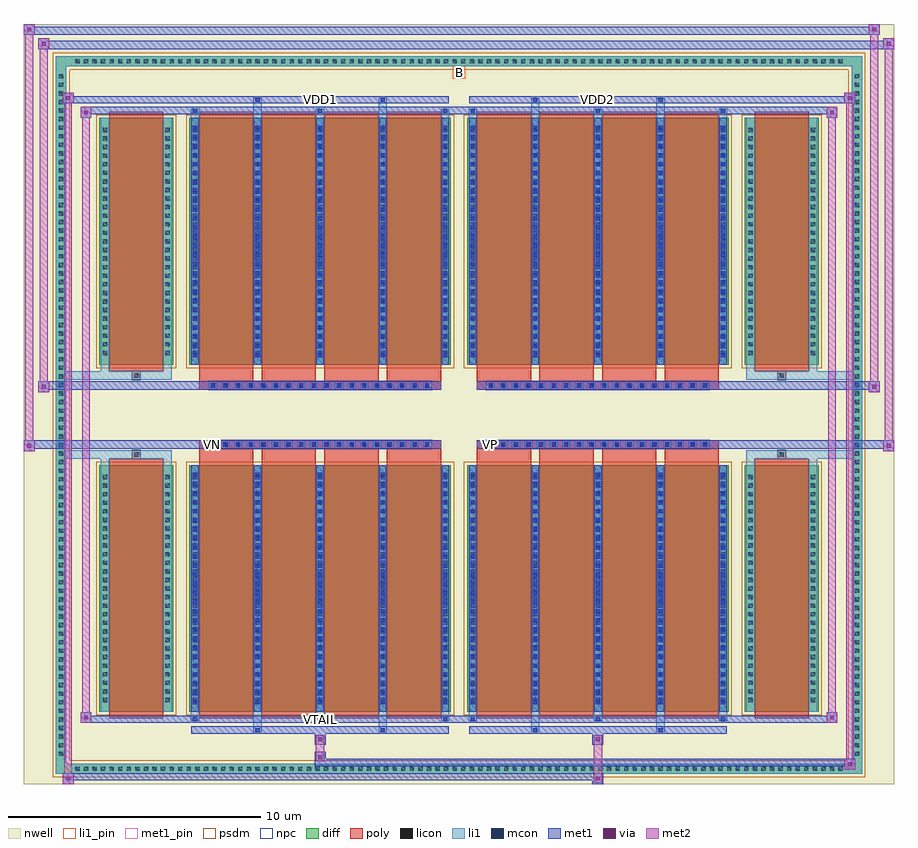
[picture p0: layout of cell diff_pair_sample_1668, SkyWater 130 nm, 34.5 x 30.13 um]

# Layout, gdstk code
import gdstk
lib = gdstk.Library(unit=1e-6, precision=5e-09)
def R(c, l, rs):  # rectangles x0, y0, x1, y1
    for r in rs: c.add(gdstk.rectangle(r[:2], r[2:], *l))
def A(c, l, x, y, w, h, nx, ny, dx, dy):  # array of equal rectangles
    R(c, l, [(x+i*dx, y+j*dy, x+i*dx+w, y+j*dy+h) for i in range(nx) for j in range(ny)])
def P(c, l, *ps):  # polygons
    for p in ps: c.add(gdstk.Polygon(p, *l))
nwell = (64, 20)
diff = (65, 20)
poly = (66, 20)
licon = (66, 44)
li1_pin = (67, 16)
li1 = (67, 20)
mcon = (67, 44)
met1_pin = (68, 16)
met1 = (68, 20)
via = (68, 44)
met2 = (69, 20)
psdm = (94, 20)
npc = (95, 20)

diff_pair_sample_1668 = lib.new_cell('diff_pair_sample_1668')
R(diff_pair_sample_1668, nwell, [(-17.25,-14.63,17.25,15.5), (-14.57,-12.82,-0.01,-0.8), (0.01,-12.82,14.57,-0.8), (-14.57,0.8,-0.01,12.82), (0.01,0.8,14.57,12.82)])
A(diff_pair_sample_1668, diff, -15.335, -14.23, 0.41, 0.41, 90, 2, 0.34, 28.05)
A(diff_pair_sample_1668, diff, -15.98, -13.635, 0.41, 0.41, 1, 80, 0, 0.34)
A(diff_pair_sample_1668, diff, 15.57, -13.635, 0.41, 0.41, 1, 80, 0, 0.34)
R(diff_pair_sample_1668, diff, [(-15.335,-14.23,15.335,-13.82), (-15.98,-13.635,-15.57,13.635), (15.57,-13.635,15.98,13.635), (-14.26,-11.775,-11.33,-1.985), (-10.69,-11.775,-0.32,-1.985), (0.32,-11.775,10.69,-1.985), (11.33,-11.775,14.26,-1.985), (-14.26,1.985,-11.33,11.775), (-10.69,1.985,-0.32,11.775), (0.32,1.985,10.69,11.775), (11.33,1.985,14.26,11.775), (-15.335,13.82,15.335,14.23)])
P(diff_pair_sample_1668, diff, [(15.98,14.23),(-15.98,14.23),(-15.98,-13.82),(-15.57,-13.82),(-15.57,13.82),(15.57,13.82),(15.57,-13.82),(-15.57,-13.82),(-15.98,-13.82),(-15.98,-14.23),(15.98,-14.23)])
A(diff_pair_sample_1668, poly, -10.3, -12.025, 2.15, 10.29, 4, 2, 2.48, 13.76)
A(diff_pair_sample_1668, poly, 0.71, -12.025, 2.15, 10.29, 4, 2, 2.48, 13.76)
A(diff_pair_sample_1668, poly, -10.3, -1.735, 2.15, 0.405, 4, 2, 2.48, 3.065)
A(diff_pair_sample_1668, poly, 0.71, -1.735, 2.15, 0.405, 4, 2, 2.48, 3.065)
A(diff_pair_sample_1668, poly, -9.92, -1.33, 0.33, 0.33, 18, 2, 0.5, 2.33)
A(diff_pair_sample_1668, poly, 1.09, -1.33, 0.33, 0.33, 18, 2, 0.5, 2.33)
R(diff_pair_sample_1668, poly, [(-13.87,-12.025,-11.72,-1.735), (11.72,-12.025,13.87,-1.735), (-12.96,-1.735,-12.63,-1.405), (-12.96,-1.735,-12.63,-1.405), (12.63,-1.735,12.96,-1.405), (12.63,-1.735,12.96,-1.405), (-10.3,-1.33,-0.71,-1), (0.71,-1.33,10.3,-1), (-10.3,1,-0.71,1.33), (0.71,1,10.3,1.33), (-12.96,1.405,-12.63,1.735), (-12.96,1.405,-12.63,1.735), (12.63,1.405,12.96,1.735), (12.63,1.405,12.96,1.735), (-13.87,1.735,-11.72,12.025), (11.72,1.735,13.87,12.025)])
A(diff_pair_sample_1668, licon, -15.215, -14.11, 0.17, 0.17, 90, 2, 0.34, 28.05)
A(diff_pair_sample_1668, licon, -15.86, -13.515, 0.17, 0.17, 1, 80, 0, 0.34)
A(diff_pair_sample_1668, licon, 15.69, -13.515, 0.17, 0.17, 1, 80, 0, 0.34)
A(diff_pair_sample_1668, licon, -14.12, -11.385, 0.17, 0.17, 1, 27, 0, 0.34)
A(diff_pair_sample_1668, licon, -11.64, -11.385, 0.17, 0.17, 1, 27, 0, 0.34)
A(diff_pair_sample_1668, licon, -10.55, -11.385, 0.17, 0.17, 5, 27, 2.48, 0.34)
A(diff_pair_sample_1668, licon, 0.46, -11.385, 0.17, 0.17, 5, 27, 2.48, 0.34)
A(diff_pair_sample_1668, licon, 11.47, -11.385, 0.17, 0.17, 1, 27, 0, 0.34)
A(diff_pair_sample_1668, licon, 13.95, -11.385, 0.17, 0.17, 1, 27, 0, 0.34)
A(diff_pair_sample_1668, licon, -9.84, -1.25, 0.17, 0.17, 18, 2, 0.5, 2.33)
A(diff_pair_sample_1668, licon, 1.17, -1.25, 0.17, 0.17, 18, 2, 0.5, 2.33)
A(diff_pair_sample_1668, licon, -14.12, 2.375, 0.17, 0.17, 1, 27, 0, 0.34)
A(diff_pair_sample_1668, licon, -11.64, 2.375, 0.17, 0.17, 1, 27, 0, 0.34)
A(diff_pair_sample_1668, licon, -10.55, 2.375, 0.17, 0.17, 5, 27, 2.48, 0.34)
A(diff_pair_sample_1668, licon, 0.46, 2.375, 0.17, 0.17, 5, 27, 2.48, 0.34)
A(diff_pair_sample_1668, licon, 11.47, 2.375, 0.17, 0.17, 1, 27, 0, 0.34)
A(diff_pair_sample_1668, licon, 13.95, 2.375, 0.17, 0.17, 1, 27, 0, 0.34)
R(diff_pair_sample_1668, licon, [(-12.88,-1.655,-12.71,-1.485), (12.71,-1.655,12.88,-1.485), (-12.88,1.485,-12.71,1.655), (12.71,1.485,12.88,1.655)])
R(diff_pair_sample_1668, li1_pin, [(-0.25,13.32,0.25,13.82)])
A(diff_pair_sample_1668, li1, -15.295, -14.19, 0.33, 0.33, 90, 2, 0.34, 28.05)
A(diff_pair_sample_1668, li1, -15.94, -13.595, 0.33, 0.33, 1, 80, 0, 0.34)
A(diff_pair_sample_1668, li1, 15.61, -13.595, 0.33, 0.33, 1, 80, 0, 0.34)
A(diff_pair_sample_1668, li1, -10.63, -12.15, 0.33, 0.375, 3, 2, 4.96, 23.925)
A(diff_pair_sample_1668, li1, -10.55, -12.15, 0.17, 0.17, 3, 2, 4.96, 24.13)
A(diff_pair_sample_1668, li1, 0.38, -12.15, 0.33, 0.375, 3, 2, 4.96, 23.925)
A(diff_pair_sample_1668, li1, 0.46, -12.15, 0.17, 0.17, 3, 2, 4.96, 24.13)
A(diff_pair_sample_1668, li1, -10.63, -11.775, 0.33, 9.79, 5, 2, 2.48, 13.76)
A(diff_pair_sample_1668, li1, 0.38, -11.775, 0.33, 9.79, 5, 2, 2.48, 13.76)
A(diff_pair_sample_1668, li1, -14.2, -11.465, 0.33, 0.33, 1, 27, 0, 0.34)
A(diff_pair_sample_1668, li1, -11.72, -11.465, 0.33, 0.33, 1, 27, 0, 0.34)
A(diff_pair_sample_1668, li1, -10.63, -11.465, 0.33, 0.33, 5, 27, 2.48, 0.34)
A(diff_pair_sample_1668, li1, -10.55, -11.465, 0.17, 0.17, 5, 26, 2.48, 0.36)
A(diff_pair_sample_1668, li1, -10.55, -11.465, 0.17, 9.17, 5, 2, 2.48, 13.76)
A(diff_pair_sample_1668, li1, 0.38, -11.465, 0.33, 0.33, 5, 27, 2.48, 0.34)
A(diff_pair_sample_1668, li1, 0.46, -11.465, 0.17, 0.17, 5, 26, 2.48, 0.36)
A(diff_pair_sample_1668, li1, 0.46, -11.465, 0.17, 9.17, 5, 2, 2.48, 13.76)
A(diff_pair_sample_1668, li1, 11.39, -11.465, 0.33, 0.33, 1, 27, 0, 0.34)
A(diff_pair_sample_1668, li1, 13.87, -11.465, 0.33, 0.33, 1, 27, 0, 0.34)
A(diff_pair_sample_1668, li1, -9.92, -1.33, 0.33, 0.33, 18, 2, 0.5, 2.33)
A(diff_pair_sample_1668, li1, 1.09, -1.33, 0.33, 0.33, 18, 2, 0.5, 2.33)
A(diff_pair_sample_1668, li1, -14.2, 2.295, 0.33, 0.33, 1, 27, 0, 0.34)
A(diff_pair_sample_1668, li1, -11.72, 2.295, 0.33, 0.33, 1, 27, 0, 0.34)
A(diff_pair_sample_1668, li1, -10.63, 2.295, 0.33, 0.33, 5, 27, 2.48, 0.34)
A(diff_pair_sample_1668, li1, -10.55, 2.295, 0.17, 0.17, 5, 26, 2.48, 0.36)
A(diff_pair_sample_1668, li1, 0.38, 2.295, 0.33, 0.33, 5, 27, 2.48, 0.34)
A(diff_pair_sample_1668, li1, 0.46, 2.295, 0.17, 0.17, 5, 26, 2.48, 0.36)
A(diff_pair_sample_1668, li1, 11.39, 2.295, 0.33, 0.33, 1, 27, 0, 0.34)
A(diff_pair_sample_1668, li1, 13.87, 2.295, 0.33, 0.33, 1, 27, 0, 0.34)
R(diff_pair_sample_1668, li1, [(-15.98,-14.23,-15.57,-13.82), (-15.98,-14.23,-15.57,-13.82), (-15.57,-14.23,15.57,-13.82), (15.57,-14.23,15.98,-13.82), (15.57,-14.23,15.98,-13.82), (-15.98,-13.82,-15.57,13.82), (15.57,-13.82,15.98,13.82), (-8.15,-12.58,-7.82,-11.775), (-8.07,-12.58,-7.9,-12.41), (-3.19,-12.58,-2.86,-11.775), (-3.11,-12.58,-2.94,-12.41), (2.86,-12.58,3.19,-11.775), (2.94,-12.58,3.11,-12.41), (7.82,-12.58,8.15,-11.775), (7.9,-12.58,8.07,-12.41), (-14.2,-11.775,-13.87,-1.985), (-11.72,-11.775,-11.39,-1.985), (11.39,-11.775,11.72,-1.985), (13.87,-11.775,14.2,-1.985), (-14.2,-1.985,-13.87,-1.405), (-11.72,-1.985,-11.39,-1.405), (11.39,-1.985,11.72,-1.405), (13.87,-1.985,14.2,-1.405), (-15.98,-1.735,-12.96,-1.405), (-14.2,-1.735,-12.96,-1.405), (-12.96,-1.735,-12.63,-1.405), (-12.63,-1.735,-11.39,-1.405), (11.39,-1.735,12.63,-1.405), (12.63,-1.735,12.96,-1.405), (12.63,-1.735,15.98,-1.405), (12.96,-1.735,14.2,-1.405), (-15.98,1.405,-12.96,1.735), (-14.2,1.405,-12.96,1.735), (-14.2,1.405,-13.87,1.985), (-12.96,1.405,-12.63,1.735), (-12.63,1.405,-11.39,1.735), (-11.72,1.405,-11.39,1.985), (11.39,1.405,12.63,1.735), (11.39,1.405,11.72,1.985), (12.63,1.405,12.96,1.735), (12.63,1.405,15.98,1.735), (12.96,1.405,14.2,1.735), (13.87,1.405,14.2,1.985), (-14.2,1.985,-13.87,11.775), (-11.72,1.985,-11.39,11.775), (11.39,1.985,11.72,11.775), (13.87,1.985,14.2,11.775), (-8.15,11.775,-7.82,12.58), (-3.19,11.775,-2.86,12.58), (2.86,11.775,3.19,12.58), (7.82,11.775,8.15,12.58), (-8.07,12.41,-7.9,12.58), (-3.11,12.41,-2.94,12.58), (2.94,12.41,3.11,12.58), (7.9,12.41,8.07,12.58), (-15.98,13.82,-15.57,14.23), (-15.98,13.82,-15.57,14.23), (-15.57,13.82,15.57,14.23), (15.57,13.82,15.98,14.23), (15.57,13.82,15.98,14.23)])
A(diff_pair_sample_1668, mcon, -10.55, -12.15, 0.17, 0.17, 3, 2, 4.96, 24.13)
A(diff_pair_sample_1668, mcon, 0.46, -12.15, 0.17, 0.17, 3, 2, 4.96, 24.13)
A(diff_pair_sample_1668, mcon, -10.55, -11.465, 0.17, 0.17, 5, 26, 2.48, 0.36)
A(diff_pair_sample_1668, mcon, 0.46, -11.465, 0.17, 0.17, 5, 26, 2.48, 0.36)
A(diff_pair_sample_1668, mcon, -9.84, -1.25, 0.17, 0.17, 18, 2, 0.5, 2.33)
A(diff_pair_sample_1668, mcon, 1.17, -1.25, 0.17, 0.17, 18, 2, 0.5, 2.33)
A(diff_pair_sample_1668, mcon, -10.55, 2.295, 0.17, 0.17, 5, 26, 2.48, 0.36)
A(diff_pair_sample_1668, mcon, 0.46, 2.295, 0.17, 0.17, 5, 26, 2.48, 0.36)
R(diff_pair_sample_1668, mcon, [(-8.07,-12.58,-7.9,-12.41), (-3.11,-12.58,-2.94,-12.41), (2.94,-12.58,3.11,-12.41), (7.9,-12.58,8.07,-12.41), (-8.07,12.41,-7.9,12.58), (-3.11,12.41,-2.94,12.58), (2.94,12.41,3.11,12.58), (7.9,12.41,8.07,12.58)])
R(diff_pair_sample_1668, met1_pin, [(-5.64,-12.19,-5.37,-11.92), (-9.89,-1.29,-9.62,-1.02), (1.12,-1.29,1.39,-1.02), (-5.64,12.37,-5.37,12.64), (5.37,12.37,5.64,12.64)])
A(diff_pair_sample_1668, met1, -10.61, -12.21, 0.29, 0.29, 3, 2, 4.96, 24.13)
A(diff_pair_sample_1668, met1, 0.4, -12.21, 0.29, 0.29, 3, 2, 4.96, 24.13)
A(diff_pair_sample_1668, met1, -10.61, -11.775, 0.29, 9.79, 5, 2, 2.48, 13.76)
A(diff_pair_sample_1668, met1, 0.4, -11.775, 0.29, 9.79, 5, 2, 2.48, 13.76)
A(diff_pair_sample_1668, met1, -10.61, -11.525, 0.29, 0.29, 5, 26, 2.48, 0.36)
A(diff_pair_sample_1668, met1, 0.4, -11.525, 0.29, 0.29, 5, 26, 2.48, 0.36)
A(diff_pair_sample_1668, met1, -9.9, -1.31, 0.29, 0.29, 18, 2, 0.5, 2.33)
A(diff_pair_sample_1668, met1, 1.11, -1.31, 0.29, 0.29, 18, 2, 0.5, 2.33)
A(diff_pair_sample_1668, met1, -10.61, 2.235, 0.29, 0.29, 5, 26, 2.48, 0.36)
A(diff_pair_sample_1668, met1, 0.4, 2.235, 0.29, 0.29, 5, 26, 2.48, 0.36)
R(diff_pair_sample_1668, met1, [(-15.71,-14.63,-15.28,-14.2), (5.29,-14.63,5.72,-14.2), (-15.71,-14.49,5.72,-14.2), (15.28,-14.06,15.71,-13.63), (-5.72,-13.92,15.71,-13.63), (-5.72,-13.78,-5.29,-13.35), (-5.72,-13.07,-5.29,-12.64), (5.29,-13.07,5.72,-12.64), (-10.61,-12.64,-0.4,-12.35), (-8.13,-12.64,-7.84,-12.35), (-3.17,-12.64,-2.88,-12.35), (0.4,-12.64,10.61,-12.35), (2.88,-12.64,3.17,-12.35), (7.84,-12.64,8.13,-12.35), (-15,-12.21,-14.57,-11.78), (-15,-12.21,-10.61,-11.92), (-10.61,-12.21,-0.4,-11.92), (-0.4,-12.21,0.4,-11.92), (0.4,-12.21,10.61,-11.92), (10.61,-12.21,15,-11.92), (14.57,-12.21,15,-11.78), (-17.25,-1.43,-16.82,-1), (16.82,-1.43,17.25,-1), (-17.25,-1.33,-0.71,-1), (-10.3,-1.33,-0.71,-1), (0.71,-1.33,10.3,-1), (0.71,-1.33,17.25,-1), (-16.68,0.9,-16.25,1.33), (16.25,0.9,16.68,1.33), (-16.68,1,-10.3,1.33), (-10.3,1,-0.71,1.33), (0.71,1,10.3,1.33), (10.3,1,16.68,1.33), (-15,11.78,-14.57,12.21), (14.57,11.78,15,12.21), (-15,11.92,-10.61,12.21), (-10.61,11.92,-0.4,12.21), (-0.4,11.92,0.4,12.21), (0.4,11.92,10.61,12.21), (10.61,11.92,15,12.21), (-15.71,12.35,-15.28,12.78), (-15.71,12.35,-10.61,12.64), (-10.61,12.35,-0.4,12.64), (-8.13,12.35,-7.84,12.64), (-3.17,12.35,-2.88,12.64), (0.4,12.35,10.61,12.64), (2.88,12.35,3.17,12.64), (7.84,12.35,8.13,12.64), (10.61,12.35,15.71,12.64), (15.28,12.35,15.71,12.78), (-16.68,14.5,-16.25,14.93), (-16.68,14.5,-14.57,14.83), (-14.57,14.5,14.57,14.83), (14.57,14.5,17.25,14.83), (16.82,14.5,17.25,14.93), (-17.25,15.07,-16.82,15.5), (-17.25,15.07,-14.57,15.4), (-14.57,15.07,14.57,15.4), (14.57,15.07,16.68,15.4), (16.25,15.07,16.68,15.5)])
R(diff_pair_sample_1668, via, [(-15.57,-14.49,-15.42,-14.34), (5.43,-14.49,5.58,-14.34), (15.42,-13.92,15.57,-13.77), (-5.58,-13.64,-5.43,-13.49), (-5.58,-12.93,-5.43,-12.78), (5.43,-12.93,5.58,-12.78), (-14.86,-12.07,-14.71,-11.92), (14.71,-12.07,14.86,-11.92), (-17.11,-1.29,-16.96,-1.14), (16.96,-1.29,17.11,-1.14), (-16.54,1.04,-16.39,1.19), (16.39,1.04,16.54,1.19), (-14.86,11.92,-14.71,12.07), (14.71,11.92,14.86,12.07), (-15.57,12.49,-15.42,12.64), (15.42,12.49,15.57,12.64), (-16.54,14.64,-16.39,14.79), (16.96,14.64,17.11,14.79), (-17.11,15.21,-16.96,15.36), (16.39,15.21,16.54,15.36)])
R(diff_pair_sample_1668, met2, [(-15.71,-14.63,-15.28,-14.2), (-15.64,-14.63,-15.35,12.78), (-15.35,-14.63,-15.28,-14.2), (-15.66,-14.58,-15.33,-14.25), (5.34,-14.58,5.67,-14.25), (5.34,-14.25,5.67,-13.02), (15.28,-14.06,15.71,-13.63), (15.35,-14.06,15.64,12.78), (15.64,-14.06,15.71,-13.63), (15.33,-14.01,15.66,-13.68), (-5.67,-13.73,-5.34,-13.4), (-5.67,-13.4,-5.34,-13.02), (-5.67,-13.02,-5.34,-12.69), (5.34,-13.02,5.67,-12.69), (-15,-12.21,-14.57,-11.78), (-14.93,-12.21,-14.64,12.21), (-14.64,-12.21,-14.57,-11.78), (14.57,-12.21,15,-11.78), (14.64,-12.21,14.93,12.21), (14.93,-12.21,15,-11.78), (-14.95,-12.16,-14.62,-11.83), (14.62,-12.16,14.95,-11.83), (-17.25,-1.43,-16.82,-1), (-17.2,-1.43,-16.87,15.5), (-16.87,-1.43,-16.82,-1), (16.82,-1.43,17.25,-1), (16.87,-1.43,17.2,14.93), (17.2,-1.43,17.25,-1), (-17.2,-1.38,-16.87,-1.05), (16.87,-1.38,17.2,-1.05), (-16.68,0.9,-16.25,1.33), (-16.63,0.9,-16.3,14.93), (-16.3,0.9,-16.25,1.33), (16.25,0.9,16.68,1.33), (16.3,0.9,16.63,15.5), (16.63,0.9,16.68,1.33), (-16.63,0.95,-16.3,1.28), (16.3,0.95,16.63,1.28), (-15,11.78,-14.57,12.21), (-14.64,11.78,-14.57,12.21), (14.57,11.78,15,12.21), (14.93,11.78,15,12.21), (-14.95,11.83,-14.62,12.16), (14.62,11.83,14.95,12.16), (-15.71,12.35,-15.28,12.78), (-15.35,12.35,-15.28,12.78), (15.28,12.35,15.71,12.78), (15.64,12.35,15.71,12.78), (-15.66,12.4,-15.33,12.73), (15.33,12.4,15.66,12.73), (-16.68,14.5,-16.25,14.93), (-16.3,14.5,-16.25,14.93), (16.82,14.5,17.25,14.93), (17.2,14.5,17.25,14.93), (-16.63,14.55,-16.3,14.88), (16.87,14.55,17.2,14.88), (-17.25,15.07,-16.82,15.5), (-16.87,15.07,-16.82,15.5), (16.25,15.07,16.68,15.5), (16.63,15.07,16.68,15.5), (-17.2,15.12,-16.87,15.45), (16.3,15.12,16.63,15.45)])
R(diff_pair_sample_1668, psdm, [(-14.39,-11.905,-11.2,-1.855), (-10.82,-11.905,-0.19,-1.855), (0.19,-11.905,10.82,-1.855), (11.2,-11.905,14.39,-1.855), (-14.39,1.855,-11.2,11.905), (-10.82,1.855,-0.19,11.905), (0.19,1.855,10.82,11.905), (11.2,1.855,14.39,11.905)])
P(diff_pair_sample_1668, psdm, [(16.11,14.36),(-16.11,14.36),(-16.11,-13.69),(-15.44,-13.69),(-15.44,13.69),(15.44,13.69),(15.44,-13.69),(-15.44,-13.69),(-16.11,-13.69),(-16.11,-14.36),(16.11,-14.36)])
A(diff_pair_sample_1668, npc, -9.94, -1.35, 0.37, 0.37, 18, 2, 0.5, 2.33)
A(diff_pair_sample_1668, npc, 1.07, -1.35, 0.37, 0.37, 18, 2, 0.5, 2.33)
R(diff_pair_sample_1668, npc, [(-12.98,-1.755,-12.61,-1.385), (12.61,-1.755,12.98,-1.385), (-9.94,-1.35,-9.07,-0.98), (-9.94,-1.35,-9.07,-0.98), (-9.44,-1.35,-8.57,-0.98), (-9.44,-1.35,-8.57,-0.98), (-8.94,-1.35,-8.07,-0.98), (-8.94,-1.35,-8.07,-0.98), (-8.44,-1.35,-7.57,-0.98), (-8.44,-1.35,-7.57,-0.98), (-7.94,-1.35,-7.07,-0.98), (-7.94,-1.35,-7.07,-0.98), (-7.44,-1.35,-6.57,-0.98), (-7.44,-1.35,-6.57,-0.98), (-6.94,-1.35,-6.07,-0.98), (-6.94,-1.35,-6.07,-0.98), (-6.44,-1.35,-5.57,-0.98), (-6.44,-1.35,-5.57,-0.98), (-5.94,-1.35,-5.07,-0.98), (-5.94,-1.35,-5.07,-0.98), (-5.44,-1.35,-4.57,-0.98), (-5.44,-1.35,-4.57,-0.98), (-4.94,-1.35,-4.07,-0.98), (-4.94,-1.35,-4.07,-0.98), (-4.44,-1.35,-3.57,-0.98), (-4.44,-1.35,-3.57,-0.98), (-3.94,-1.35,-3.07,-0.98), (-3.94,-1.35,-3.07,-0.98), (-3.44,-1.35,-2.57,-0.98), (-3.44,-1.35,-2.57,-0.98), (-2.94,-1.35,-2.07,-0.98), (-2.94,-1.35,-2.07,-0.98), (-2.44,-1.35,-1.57,-0.98), (-2.44,-1.35,-1.57,-0.98), (-1.94,-1.35,-1.07,-0.98), (-1.94,-1.35,-1.07,-0.98), (1.07,-1.35,1.94,-0.98), (1.07,-1.35,1.94,-0.98), (1.57,-1.35,2.44,-0.98), (1.57,-1.35,2.44,-0.98), (2.07,-1.35,2.94,-0.98), (2.07,-1.35,2.94,-0.98), (2.57,-1.35,3.44,-0.98), (2.57,-1.35,3.44,-0.98), (3.07,-1.35,3.94,-0.98), (3.07,-1.35,3.94,-0.98), (3.57,-1.35,4.44,-0.98), (3.57,-1.35,4.44,-0.98), (4.07,-1.35,4.94,-0.98), (4.07,-1.35,4.94,-0.98), (4.57,-1.35,5.44,-0.98), (4.57,-1.35,5.44,-0.98), (5.07,-1.35,5.94,-0.98), (5.07,-1.35,5.94,-0.98), (5.57,-1.35,6.44,-0.98), (5.57,-1.35,6.44,-0.98), (6.07,-1.35,6.94,-0.98), (6.07,-1.35,6.94,-0.98), (6.57,-1.35,7.44,-0.98), (6.57,-1.35,7.44,-0.98), (7.07,-1.35,7.94,-0.98), (7.07,-1.35,7.94,-0.98), (7.57,-1.35,8.44,-0.98), (7.57,-1.35,8.44,-0.98), (8.07,-1.35,8.94,-0.98), (8.07,-1.35,8.94,-0.98), (8.57,-1.35,9.44,-0.98), (8.57,-1.35,9.44,-0.98), (9.07,-1.35,9.94,-0.98), (9.07,-1.35,9.94,-0.98), (-9.94,0.98,-9.07,1.35), (-9.94,0.98,-9.07,1.35), (-9.44,0.98,-8.57,1.35), (-9.44,0.98,-8.57,1.35), (-8.94,0.98,-8.07,1.35), (-8.94,0.98,-8.07,1.35), (-8.44,0.98,-7.57,1.35), (-8.44,0.98,-7.57,1.35), (-7.94,0.98,-7.07,1.35), (-7.94,0.98,-7.07,1.35), (-7.44,0.98,-6.57,1.35), (-7.44,0.98,-6.57,1.35), (-6.94,0.98,-6.07,1.35), (-6.94,0.98,-6.07,1.35), (-6.44,0.98,-5.57,1.35), (-6.44,0.98,-5.57,1.35), (-5.94,0.98,-5.07,1.35), (-5.94,0.98,-5.07,1.35), (-5.44,0.98,-4.57,1.35), (-5.44,0.98,-4.57,1.35), (-4.94,0.98,-4.07,1.35), (-4.94,0.98,-4.07,1.35), (-4.44,0.98,-3.57,1.35), (-4.44,0.98,-3.57,1.35), (-3.94,0.98,-3.07,1.35), (-3.94,0.98,-3.07,1.35), (-3.44,0.98,-2.57,1.35), (-3.44,0.98,-2.57,1.35), (-2.94,0.98,-2.07,1.35), (-2.94,0.98,-2.07,1.35), (-2.44,0.98,-1.57,1.35), (-2.44,0.98,-1.57,1.35), (-1.94,0.98,-1.07,1.35), (-1.94,0.98,-1.07,1.35), (1.07,0.98,1.94,1.35), (1.07,0.98,1.94,1.35), (1.57,0.98,2.44,1.35), (1.57,0.98,2.44,1.35), (2.07,0.98,2.94,1.35), (2.07,0.98,2.94,1.35), (2.57,0.98,3.44,1.35), (2.57,0.98,3.44,1.35), (3.07,0.98,3.94,1.35), (3.07,0.98,3.94,1.35), (3.57,0.98,4.44,1.35), (3.57,0.98,4.44,1.35), (4.07,0.98,4.94,1.35), (4.07,0.98,4.94,1.35), (4.57,0.98,5.44,1.35), (4.57,0.98,5.44,1.35), (5.07,0.98,5.94,1.35), (5.07,0.98,5.94,1.35), (5.57,0.98,6.44,1.35), (5.57,0.98,6.44,1.35), (6.07,0.98,6.94,1.35), (6.07,0.98,6.94,1.35), (6.57,0.98,7.44,1.35), (6.57,0.98,7.44,1.35), (7.07,0.98,7.94,1.35), (7.07,0.98,7.94,1.35), (7.57,0.98,8.44,1.35), (7.57,0.98,8.44,1.35), (8.07,0.98,8.94,1.35), (8.07,0.98,8.94,1.35), (8.57,0.98,9.44,1.35), (8.57,0.98,9.44,1.35), (9.07,0.98,9.94,1.35), (9.07,0.98,9.94,1.35), (-12.98,1.385,-12.61,1.755), (12.61,1.385,12.98,1.755)])
diff_pair_sample_1668.add(gdstk.Label('VTAIL', (-5.505,-12.055), layer=68, texttype=5))
diff_pair_sample_1668.add(gdstk.Label('VN', (-9.755,-1.155), layer=68, texttype=5))
diff_pair_sample_1668.add(gdstk.Label('VP', (1.255,-1.155), layer=68, texttype=5))
diff_pair_sample_1668.add(gdstk.Label('B', (0,13.57), layer=67, texttype=5))
diff_pair_sample_1668.add(gdstk.Label('VDD2', (5.505,12.505), layer=68, texttype=5))
diff_pair_sample_1668.add(gdstk.Label('VDD1', (-5.505,12.505), layer=68, texttype=5))

lib.write_gds('diff_pair_sample_1668.gds')
